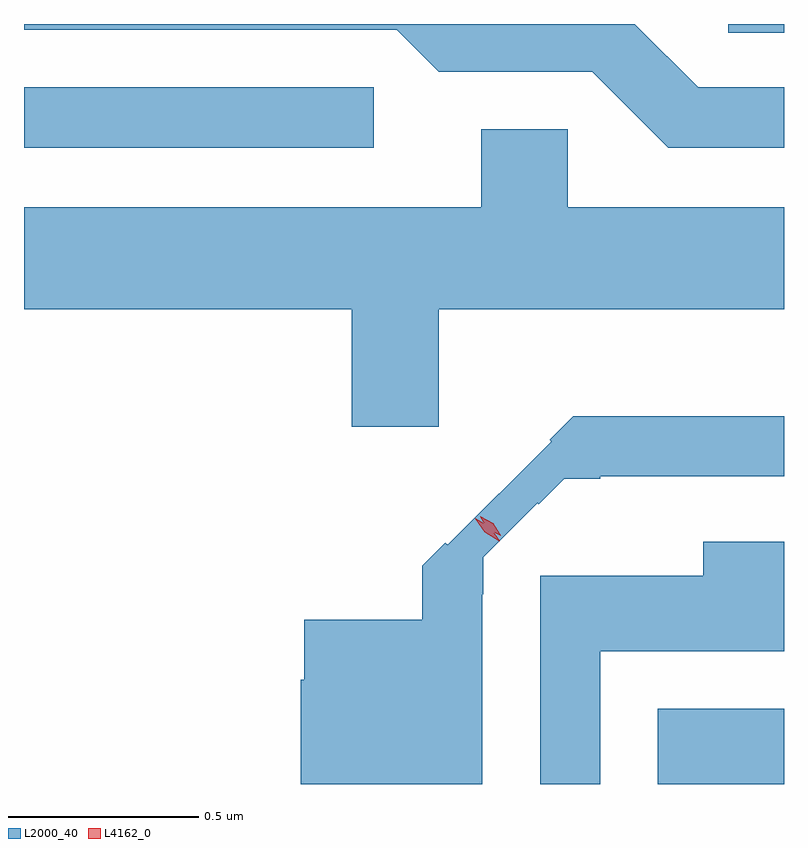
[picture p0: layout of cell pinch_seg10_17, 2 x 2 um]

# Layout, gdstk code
import gdstk
lib = gdstk.Library(unit=1e-6, precision=1e-09)
def R(c, l, rs):  # rectangles x0, y0, x1, y1
    for r in rs: c.add(gdstk.rectangle(r[:2], r[2:], *l))
def P(c, l, *ps):  # polygons
    for p in ps: c.add(gdstk.Polygon(p, *l))
L2000_40 = (2000, 40)
L4162_0 = (4162, 0)

pinch_seg10_17 = lib.new_cell('pinch_seg10_17')
R(pinch_seg10_17, L2000_40, [(669.106,2090.466,669.438,2090.664), (667.438,2092.141,668.358,2092.299), (669.291,2092.443,669.438,2092.466)])
P(pinch_seg10_17, L2000_40, [(669.438,2092.299),(669.212,2092.299),(669.045,2092.466),(667.438,2092.466),(667.438,2092.451),(668.419,2092.451),(668.529,2092.341),(668.934,2092.341),(669.134,2092.141),(669.438,2092.141)],
  [(668.529,2091.716),(669.438,2091.716),(669.438,2091.984),(668.869,2091.984),(668.869,2092.189),(668.641,2092.189),(668.641,2091.984),(667.438,2091.984),(667.438,2091.716),(668.301,2091.716),(668.301,2091.406),(668.529,2091.406)],
  [(668.644,2090.965),(668.646,2090.965),(668.646,2091.063),(668.789,2091.205),(668.792,2091.202),(668.86,2091.269),(668.955,2091.269),(668.955,2091.276),(669.438,2091.276),(669.438,2091.434),(668.884,2091.434),(668.821,2091.372),(668.826,2091.367),(668.553,2091.095),(668.547,2091.101),(668.486,2091.041),(668.486,2090.898),(668.176,2090.898),(668.176,2090.74),(668.166,2090.74),(668.166,2090.466),(668.644,2090.466)],
  [(668.954,2090.816),(669.438,2090.816),(669.438,2091.104),(669.226,2091.104),(669.226,2091.014),(668.796,2091.014),(668.796,2090.466),(668.954,2090.466)])
P(pinch_seg10_17, L4162_0, [(668.692,2091.119),(668.659,2091.137),(668.638,2091.169),(668.638,2091.17),(668.639,2091.17),(668.673,2091.152),(668.693,2091.12),(668.693,2091.119)],
  [(668.689,2091.105),(668.651,2091.128),(668.626,2091.164),(668.626,2091.165),(668.626,2091.165),(668.664,2091.143),(668.69,2091.106),(668.69,2091.105)])

lib.write_gds('pinch_seg10_17.gds')
